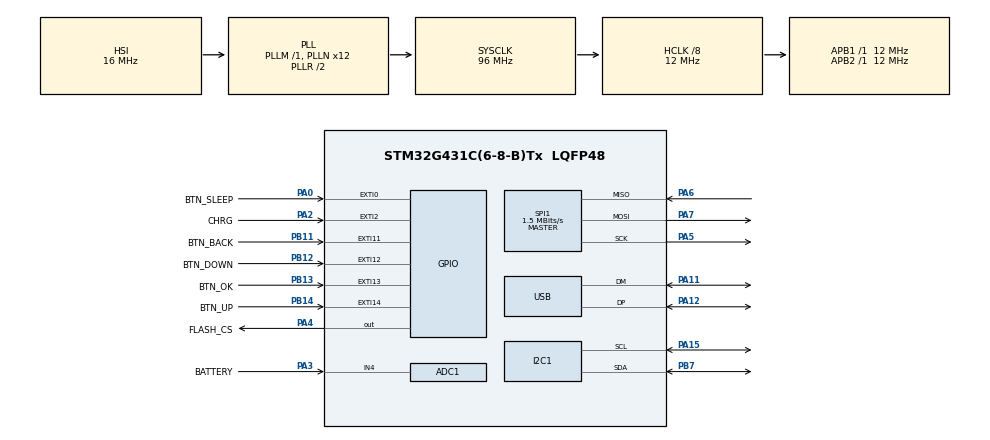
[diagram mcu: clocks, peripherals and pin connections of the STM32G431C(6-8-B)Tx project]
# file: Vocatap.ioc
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ADC1.Channel-1\#ChannelRegularConversion=ADC_CHANNEL_4
ADC1.NbrOfConversionFlag=1
ADC1.OffsetNumber-1\#ChannelRegularConversion=ADC_OFFSET_NONE
ADC1.Rank-1\#ChannelRegularConversion=1
ADC1.SamplingTime-1\#ChannelRegularConversion=ADC_SAMPLETIME_2CYCLES_5
ADC1.master=1
I2C1.Timing=0x40000A0B
Mcu.Family=STM32G4
Mcu.Name=STM32G431C(6-8-B)Tx
Mcu.Package=LQFP48
NVIC.PriorityGroup=NVIC_PRIORITYGROUP_4
NVIC.USB_LP_IRQn=true\:0\:0\:false\:false\:true\:false\:true\:true
PA0.GPIO_Label=BTN_SLEEP
PA0.Signal=GPXTI0
PA11.Mode=Device
PA11.Signal=USB_DM
PA12.Mode=Device
PA12.Signal=USB_DP
PA13.Mode=Serial_Wire
PA13.Signal=SYS_JTMS-SWDIO
PA14.Mode=Serial_Wire
PA14.Signal=SYS_JTCK-SWCLK
PA15.Mode=I2C
PA15.Signal=I2C1_SCL
PA2.GPIO_Label=CHRG
PA2.Signal=GPXTI2
PA3.GPIO_Label=BATTERY
PA3.Mode=IN4-Single-Ended
PA3.Signal=ADC1_IN4
PA4.GPIO_Label=FLASH_CS
PA4.Signal=GPIO_Output
PA5.Mode=Full_Duplex_Master
PA5.Signal=SPI1_SCK
PA6.Mode=Full_Duplex_Master
PA6.Signal=SPI1_MISO
PA7.Mode=Full_Duplex_Master
PA7.Signal=SPI1_MOSI
PB11.GPIO_Label=BTN_BACK
PB11.Signal=GPXTI11
PB12.GPIO_Label=BTN_DOWN
PB12.Signal=GPXTI12
PB13.GPIO_Label=BTN_OK
PB13.Signal=GPXTI13
PB14.GPIO_Label=BTN_UP
PB14.Signal=GPXTI14
PB7.Mode=I2C
PB7.Signal=I2C1_SDA
PF0-OSC_IN.Mode=HSE-External-Oscillator
PF0-OSC_IN.Signal=RCC_OSC_IN
PF1-OSC_OUT.Mode=HSE-External-Oscillator
PF1-OSC_OUT.Signal=RCC_OSC_OUT
ProjectManager.HeapSize=0x200
ProjectManager.StackSize=0x400
ProjectManager.TargetToolchain=STM32CubeIDE
RCC.ADC12Freq_Value=96000000
RCC.AHBCLKDivider=RCC_SYSCLK_DIV8
RCC.AHBFreq_Value=12000000
RCC.APB1Freq_Value=12000000
RCC.APB1TimFreq_Value=12000000
RCC.APB2Freq_Value=12000000
RCC.APB2TimFreq_Value=12000000
RCC.CortexFreq_Value=12000000
RCC.EXTERNAL_CLOCK_VALUE=12288000
RCC.HCLKFreq_Value=12000000
RCC.HSE_VALUE=8000000
RCC.HSI48_VALUE=48000000
RCC.HSI_VALUE=16000000
RCC.LSE_VALUE=32768
RCC.PLLN=12
RCC.PLLQ=RCC_PLLQ_DIV4
RCC.SYSCLKFreq_VALUE=96000000
RCC.SYSCLKSource=RCC_SYSCLKSOURCE_PLLCLK
RCC.USBFreq_Value=48000000
RCC.VCOOutputFreq_Value=192000000
SPI1.BaudRatePrescaler=SPI_BAUDRATEPRESCALER_8
SPI1.CalculateBaudRate=1.5 MBits/s
SPI1.DataSize=SPI_DATASIZE_8BIT
SPI1.Direction=SPI_DIRECTION_2LINES
SPI1.Mode=SPI_MODE_MASTER
SPI1.VirtualType=VM_MASTER
USB_DEVICE.CLASS_NAME_FS=MSC
USB_DEVICE.MANUFACTURER_STRING=syjoosy
USB_DEVICE.PRODUCT_STRING_MSC_FS=VocaTap
USB_DEVICE.VirtualMode=Msc
USB_DEVICE.VirtualModeFS=Msc_FS
VP_FATFS_VS_Generic.Mode=User_defined
VP_SYS_VS_DBSignals.Mode=DisableDeadBatterySignals
VP_USB_DEVICE_VS_USB_DEVICE_MSC_FS.Mode=MSC_FS
board=custom

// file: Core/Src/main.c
/* USER CODE BEGIN Header */
/**
  ******************************************************************************
  * @file           : main.c
  * @brief          : Main program body
  ******************************************************************************
  * @attention
  *
  * Copyright (c) 2026 STMicroelectronics.
  * All rights reserved.
  *
  * This software is licensed under terms that can be found in the LICENSE file
  * in the root directory of this software component.
  * If no LICENSE file comes with this software, it is provided AS-IS.
  *
  ******************************************************************************
  */
/* USER CODE END Header */
#include "main.h"
#include "app_fatfs.h"
#include "usb_device.h"

/* USER CODE BEGIN Includes */
#include "./oled/ssd1306.h"
#include "./oled/ssd1306_fonts.h"
#include "./oled/russian.h"
#include "./oled/french.h"
/* USER CODE END Includes */

ADC_HandleTypeDef hadc1;

I2C_HandleTypeDef hi2c1;

SPI_HandleTypeDef hspi1;

/* USER CODE BEGIN PV */

/** Generated Roboto Condensed Light 10 file by generate.py*/

// char* text_cyr = "СТАРТ";
// extern const SSD1306_Font_t Font_8x9;
/* USER CODE END PV */

void SystemClock_Config(void);
static void MX_GPIO_Init(void);
static void MX_SPI1_Init(void);
static void MX_I2C1_Init(void);
static void MX_ADC1_Init(void);

int main(void)
{

  /* MCU Configuration--------------------------------------------------------*/

  /* Reset of all peripherals, Initializes the Flash interface and the Systick. */
  HAL_Init();

  /* Configure the system clock */
  SystemClock_Config();

  /* Initialize all configured peripherals */
  MX_GPIO_Init();
  if (MX_FATFS_Init() != APP_OK) {
    Error_Handler();
  }
  MX_USB_Device_Init();
  MX_SPI1_Init();
  MX_I2C1_Init();
  MX_ADC1_Init();
  /* USER CODE BEGIN 2 */

  ssd1306_Init();

  // ssd1306_Fill(Black);
  // ssd1306_SetCursor(1, 10);
  // ssd1306_WriteString("__     __             _____           ", Font_6x8, White);

  // ssd1306_SetCursor(1, 20);
  // ssd1306_WriteString("\\ \\   / /__   ___ __ |_   _|_ _ _ __  ", Font_6x8, White);

  // ssd1306_SetCursor(1, 30);
  // ssd1306_WriteString(" \\ \\ / / _ \\ / __/ _` || |/ _` | '_ \\ ", Font_6x8, White);

  // ssd1306_SetCursor(1, 40);
  // ssd1306_WriteString("  \\ V / (_) | (_| (_| || | (_| | |_) |", Font_6x8, White);

  // ssd1306_SetCursor(1, 50);
  // ssd1306_WriteString("   \\_/ \\___/ \\___\\__,_||_|\\__,_| .__/ ", Font_6x8, White);

  // ssd1306_SetCursor(1, 60);
  // ssd1306_WriteString("                               |_|    ", Font_6x8, White);

  // ssd1306_UpdateScreen();

  // HAL_Delay(3000);
  W25qxx_Init();
  ssd1306_Fill(Black);

  ssd1306_SetCursor(2, 10);
  if (CheckW25qxxConnection() == 1)
  {
    ssd1306_WriteString("W25QXX OK!", Font_6x8, White);
  }
  else
  {
    ssd1306_WriteString("W25QXX ERROR!", Font_6x8, White);
  }
  ssd1306_UpdateScreen();

  ssd1306_SetCursor(2, 25);
  ssd1306_WriteString("Je tâchera", french, White);
  ssd1306_UpdateScreen();

  ssd1306_SetCursor(2, 45);
  // ssd1306_WriteStringUTF8("Test", french, White);
  ssd1306_WriteStringUTF8("Проверка!", russian, White);
  ssd1306_UpdateScreen();
  /* USER CODE END 2 */

  /* Infinite loop */
  while (1)
  {

  }
}

void SystemClock_Config(void)
{
  RCC_OscInitTypeDef RCC_OscInitStruct = {0};
  RCC_ClkInitTypeDef RCC_ClkInitStruct = {0};

  /** Configure the main internal regulator output voltage
  */
  HAL_PWREx_ControlVoltageScaling(PWR_REGULATOR_VOLTAGE_SCALE1);

  /** Initializes the RCC Oscillators according to the specified parameters
  * in the RCC_OscInitTypeDef structure.
  */
  RCC_OscInitStruct.OscillatorType = RCC_OSCILLATORTYPE_HSI;
  RCC_OscInitStruct.HSIState = RCC_HSI_ON;
  RCC_OscInitStruct.HSICalibrationValue = RCC_HSICALIBRATION_DEFAULT;
  RCC_OscInitStruct.PLL.PLLState = RCC_PLL_ON;
  RCC_OscInitStruct.PLL.PLLSource = RCC_PLLSOURCE_HSI;
  RCC_OscInitStruct.PLL.PLLM = RCC_PLLM_DIV1;
  RCC_OscInitStruct.PLL.PLLN = 12;
  RCC_OscInitStruct.PLL.PLLP = RCC_PLLP_DIV2;
  RCC_OscInitStruct.PLL.PLLQ = RCC_PLLQ_DIV4;
  RCC_OscInitStruct.PLL.PLLR = RCC_PLLR_DIV2;
  if (HAL_RCC_OscConfig(&RCC_OscInitStruct) != HAL_OK)
  {
    Error_Handler();
  }

  /** Initializes the CPU, AHB and APB buses clocks
  */
  RCC_ClkInitStruct.ClockType = RCC_CLOCKTYPE_HCLK|RCC_CLOCKTYPE_SYSCLK
                              |RCC_CLOCKTYPE_PCLK1|RCC_CLOCKTYPE_PCLK2;
  RCC_ClkInitStruct.SYSCLKSource = RCC_SYSCLKSOURCE_PLLCLK;
  RCC_ClkInitStruct.AHBCLKDivider = RCC_SYSCLK_DIV8;
  RCC_ClkInitStruct.APB1CLKDivider = RCC_HCLK_DIV1;
  RCC_ClkInitStruct.APB2CLKDivider = RCC_HCLK_DIV1;

  if (HAL_RCC_ClockConfig(&RCC_ClkInitStruct, FLASH_LATENCY_0) != HAL_OK)
  {
    Error_Handler();
  }
}

static void MX_ADC1_Init(void)
{

  ADC_MultiModeTypeDef multimode = {0};
  ADC_ChannelConfTypeDef sConfig = {0};

  /** Common config
  */
  hadc1.Instance = ADC1;
  hadc1.Init.ClockPrescaler = ADC_CLOCK_SYNC_PCLK_DIV2;
  hadc1.Init.Resolution = ADC_RESOLUTION_12B;
  hadc1.Init.DataAlign = ADC_DATAALIGN_RIGHT;
  hadc1.Init.GainCompensation = 0;
  hadc1.Init.ScanConvMode = ADC_SCAN_DISABLE;
  hadc1.Init.EOCSelection = ADC_EOC_SINGLE_CONV;
  hadc1.Init.LowPowerAutoWait = DISABLE;
  hadc1.Init.ContinuousConvMode = DISABLE;
  hadc1.Init.NbrOfConversion = 1;
  hadc1.Init.DiscontinuousConvMode = DISABLE;
  hadc1.Init.ExternalTrigConv = ADC_SOFTWARE_START;
  hadc1.Init.ExternalTrigConvEdge = ADC_EXTERNALTRIGCONVEDGE_NONE;
  hadc1.Init.DMAContinuousRequests = DISABLE;
  hadc1.Init.Overrun = ADC_OVR_DATA_PRESERVED;
  hadc1.Init.OversamplingMode = DISABLE;
  if (HAL_ADC_Init(&hadc1) != HAL_OK)
  {
    Error_Handler();
  }

  /** Configure the ADC multi-mode
  */
  multimode.Mode = ADC_MODE_INDEPENDENT;
  if (HAL_ADCEx_MultiModeConfigChannel(&hadc1, &multimode) != HAL_OK)
  {
    Error_Handler();
  }

  /** Configure Regular Channel
  */
  sConfig.Channel = ADC_CHANNEL_4;
  sConfig.Rank = ADC_REGULAR_RANK_1;
  sConfig.SamplingTime = ADC_SAMPLETIME_2CYCLES_5;
  sConfig.SingleDiff = ADC_SINGLE_ENDED;
  sConfig.OffsetNumber = ADC_OFFSET_NONE;
  sConfig.Offset = 0;
  if (HAL_ADC_ConfigChannel(&hadc1, &sConfig) != HAL_OK)
  {
    Error_Handler();
  }

}

static void MX_I2C1_Init(void)
{

  hi2c1.Instance = I2C1;
  hi2c1.Init.Timing = 0x40000A0B;
  hi2c1.Init.OwnAddress1 = 0;
  hi2c1.Init.AddressingMode = I2C_ADDRESSINGMODE_7BIT;
  hi2c1.Init.DualAddressMode = I2C_DUALADDRESS_DISABLE;
  hi2c1.Init.OwnAddress2 = 0;
  hi2c1.Init.OwnAddress2Masks = I2C_OA2_NOMASK;
  hi2c1.Init.GeneralCallMode = I2C_GENERALCALL_DISABLE;
  hi2c1.Init.NoStretchMode = I2C_NOSTRETCH_DISABLE;
  if (HAL_I2C_Init(&hi2c1) != HAL_OK)
  {
    Error_Handler();
  }

  /** Configure Analogue filter
  */
  if (HAL_I2CEx_ConfigAnalogFilter(&hi2c1, I2C_ANALOGFILTER_ENABLE) != HAL_OK)
  {
    Error_Handler();
  }

  /** Configure Digital filter
  */
  if (HAL_I2CEx_ConfigDigitalFilter(&hi2c1, 0) != HAL_OK)
  {
    Error_Handler();
  }

}

static void MX_SPI1_Init(void)
{

  /* SPI1 parameter configuration*/
  hspi1.Instance = SPI1;
  hspi1.Init.Mode = SPI_MODE_MASTER;
  hspi1.Init.Direction = SPI_DIRECTION_2LINES;
  hspi1.Init.DataSize = SPI_DATASIZE_8BIT;
  hspi1.Init.CLKPolarity = SPI_POLARITY_LOW;
  hspi1.Init.CLKPhase = SPI_PHASE_1EDGE;
  hspi1.Init.NSS = SPI_NSS_SOFT;
  hspi1.Init.BaudRatePrescaler = SPI_BAUDRATEPRESCALER_8;
  hspi1.Init.FirstBit = SPI_FIRSTBIT_MSB;
  hspi1.Init.TIMode = SPI_TIMODE_DISABLE;
  hspi1.Init.CRCCalculation = SPI_CRCCALCULATION_DISABLE;
  hspi1.Init.CRCPolynomial = 7;
  hspi1.Init.CRCLength = SPI_CRC_LENGTH_DATASIZE;
  hspi1.Init.NSSPMode = SPI_NSS_PULSE_ENABLE;
  if (HAL_SPI_Init(&hspi1) != HAL_OK)
  {
    Error_Handler();
  }

}

static void MX_GPIO_Init(void)
{
  GPIO_InitTypeDef GPIO_InitStruct = {0};

  /* GPIO Ports Clock Enable */
  __HAL_RCC_GPIOF_CLK_ENABLE();
  __HAL_RCC_GPIOA_CLK_ENABLE();
  __HAL_RCC_GPIOB_CLK_ENABLE();

  /*Configure GPIO pin Output Level */
  HAL_GPIO_WritePin(FLASH_CS_GPIO_Port, FLASH_CS_Pin, GPIO_PIN_RESET);

  /*Configure GPIO pins : BTN_SLEEP_Pin CHRG_Pin */
  GPIO_InitStruct.Pin = BTN_SLEEP_Pin|CHRG_Pin;
  GPIO_InitStruct.Mode = GPIO_MODE_IT_RISING;
  GPIO_InitStruct.Pull = GPIO_NOPULL;
  HAL_GPIO_Init(GPIOA, &GPIO_InitStruct);

  /*Configure GPIO pin : FLASH_CS_Pin */
  GPIO_InitStruct.Pin = FLASH_CS_Pin;
  GPIO_InitStruct.Mode = GPIO_MODE_OUTPUT_PP;
  GPIO_InitStruct.Pull = GPIO_NOPULL;
  GPIO_InitStruct.Speed = GPIO_SPEED_FREQ_LOW;
  HAL_GPIO_Init(FLASH_CS_GPIO_Port, &GPIO_InitStruct);

  /*Configure GPIO pins : BTN_BACK_Pin BTN_DOWN_Pin BTN_OK_Pin BTN_UP_Pin */
  GPIO_InitStruct.Pin = BTN_BACK_Pin|BTN_DOWN_Pin|BTN_OK_Pin|BTN_UP_Pin;
  GPIO_InitStruct.Mode = GPIO_MODE_IT_RISING;
  GPIO_InitStruct.Pull = GPIO_NOPULL;
  HAL_GPIO_Init(GPIOB, &GPIO_InitStruct);

}

void Error_Handler(void)
{
  __disable_irq();
  while (1)
  {
  }
}
